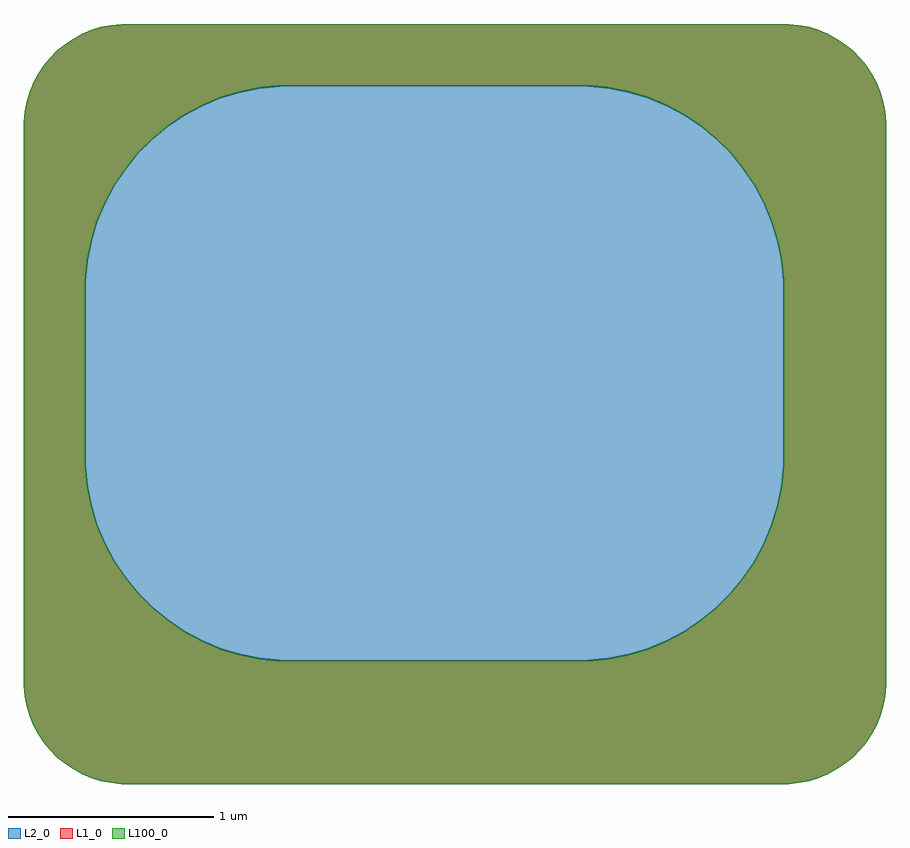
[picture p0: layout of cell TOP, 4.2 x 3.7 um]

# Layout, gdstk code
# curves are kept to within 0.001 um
import gdstk
lib = gdstk.Library(unit=1e-6, precision=1e-09)
def P(c, l, *ps):  # polygons
    for p in ps: c.add(gdstk.Polygon(p, *l))
L1_0 = (1, 0)
L2_0 = (2, 0)
L100_0 = (100, 0)

top = lib.new_cell('TOP')
P(top, L1_0, [(-1.625,-1.7),(-1.673,-1.695),(-1.722,-1.686),(-1.769,-1.671),(-1.814,-1.653),(-1.857,-1.629),(-1.898,-1.602),(-1.936,-1.571),(-1.971,-1.536),(-2.002,-1.498),(-2.029,-1.457),(-2.053,-1.414),(-2.071,-1.369),(-2.086,-1.322),(-2.095,-1.273),(-2.1,-1.225),(-2.1,1.525),(-2.095,1.573),(-2.086,1.622),(-2.071,1.669),(-2.059,1.7),(-0.849,1.7),(-0.947,1.69),(-1.043,1.671),(-1.137,1.643),(-1.228,1.605),(-1.315,1.559),(-1.396,1.504),(-1.472,1.442),(-1.542,1.372),(-1.604,1.296),(-1.659,1.215),(-1.705,1.128),(-1.743,1.037),(-1.771,0.943),(-1.79,0.847),(-1.8,0.749),(-1.8,-0.149),(-1.79,-0.247),(-1.771,-0.343),(-1.743,-0.437),(-1.705,-0.528),(-1.659,-0.615),(-1.604,-0.696),(-1.542,-0.772),(-1.472,-0.842),(-1.396,-0.904),(-1.315,-0.959),(-1.228,-1.005),(-1.137,-1.043),(-1.043,-1.071),(-0.947,-1.09),(-0.849,-1.1),(0.649,-1.1),(0.747,-1.09),(0.843,-1.071),(0.937,-1.043),(1.028,-1.005),(1.115,-0.959),(1.196,-0.904),(1.272,-0.842),(1.342,-0.772),(1.404,-0.696),(1.459,-0.615),(1.505,-0.528),(1.543,-0.437),(1.571,-0.343),(1.59,-0.247),(1.6,-0.149),(1.6,0.749),(1.59,0.847),(1.571,0.943),(1.543,1.037),(1.505,1.128),(1.459,1.215),(1.404,1.296),(1.342,1.372),(1.272,1.442),(1.196,1.504),(1.115,1.559),(1.028,1.605),(0.937,1.643),(0.843,1.671),(0.747,1.69),(0.649,1.7),(-2.059,1.7),(-2.053,1.714),(-2.029,1.757),(-2.002,1.798),(-1.971,1.836),(-1.936,1.871),(-1.898,1.902),(-1.857,1.929),(-1.814,1.953),(-1.769,1.971),(-1.722,1.986),(-1.673,1.995),(-1.625,2),(1.625,2),(1.673,1.995),(1.722,1.986),(1.769,1.971),(1.814,1.953),(1.857,1.929),(1.898,1.902),(1.936,1.871),(1.971,1.836),(2.002,1.798),(2.029,1.757),(2.053,1.714),(2.071,1.669),(2.086,1.622),(2.095,1.573),(2.1,1.525),(2.1,-1.225),(2.095,-1.273),(2.086,-1.322),(2.071,-1.369),(2.053,-1.414),(2.029,-1.457),(2.002,-1.498),(1.971,-1.536),(1.936,-1.571),(1.898,-1.602),(1.857,-1.629),(1.814,-1.653),(1.769,-1.671),(1.722,-1.686),(1.673,-1.695),(1.625,-1.7)])
P(top, L2_0, [(-0.849,-1.1),(-0.947,-1.09),(-1.043,-1.071),(-1.137,-1.043),(-1.228,-1.005),(-1.315,-0.959),(-1.396,-0.904),(-1.472,-0.842),(-1.542,-0.772),(-1.604,-0.696),(-1.659,-0.615),(-1.705,-0.528),(-1.743,-0.437),(-1.771,-0.343),(-1.79,-0.247),(-1.8,-0.149),(-1.8,0.749),(-1.79,0.847),(-1.771,0.943),(-1.743,1.037),(-1.705,1.128),(-1.659,1.215),(-1.604,1.296),(-1.542,1.372),(-1.472,1.442),(-1.396,1.504),(-1.315,1.559),(-1.228,1.605),(-1.137,1.643),(-1.043,1.671),(-0.947,1.69),(-0.849,1.7),(0.649,1.7),(0.747,1.69),(0.843,1.671),(0.937,1.643),(1.028,1.605),(1.115,1.559),(1.196,1.504),(1.272,1.442),(1.342,1.372),(1.404,1.296),(1.459,1.215),(1.505,1.128),(1.543,1.037),(1.571,0.943),(1.59,0.847),(1.6,0.749),(1.6,-0.149),(1.59,-0.247),(1.571,-0.343),(1.543,-0.437),(1.505,-0.528),(1.459,-0.615),(1.404,-0.696),(1.342,-0.772),(1.272,-0.842),(1.196,-0.904),(1.115,-0.959),(1.028,-1.005),(0.937,-1.043),(0.843,-1.071),(0.747,-1.09),(0.649,-1.1)])
P(top, L100_0, [(-1.944,-0.213),(-2.1,-0.194),(-2.1,0.15),(-2.1,0.494),(-2.1,0.666),(-2.1,0.838),(-1.944,0.813),(-1.8,0.749),(-1.8,0.525),(-1.8,0.3),(-1.8,0.076),(-1.8,-0.149)],
  [(1.6,-0.149),(1.6,0.075),(1.6,0.3),(1.799,0.188),(1.737,-0.037)],
  [(1.681,-0.315),(1.69,-0.208),(1.737,-0.037),(1.799,0.188),(2.1,0.15),(2.1,-0.194),(1.877,-0.277)],
  [(-0.849,1.7),(-0.908,1.792),(-0.963,1.895),(-1.016,2),(0.609,2),(0.715,1.859),(0.649,1.7)],
  [(-0.406,-1.7),(-0.379,-1.393),(-0.1,-1.1),(0.275,-1.1),(0.462,-1.272),(0.629,-1.515),(0.406,-1.7),(0,-1.7)],
  [(1.807,1.435),(1.669,1.464),(1.779,1.562),(1.915,1.565),(2.006,1.539),(1.981,1.491),(1.935,1.461)],
  [(1.675,0.914),(1.659,1.02),(1.655,1.137),(1.692,1.282),(1.814,1.296),(1.934,1.267),(1.885,1.086),(1.791,0.986)],
  [(1.934,1.267),(1.814,1.296),(1.916,1.364)],
  [(1.938,0.944),(1.791,0.986),(1.885,1.086),(1.993,1.179),(2.1,1.181),(2.1,1.009)],
  [(1.208,1.61),(1.175,1.778),(1.219,2),(1.378,1.885),(1.463,1.797),(1.333,1.692)],
  [(1.463,1.797),(1.378,1.885),(1.496,1.92),(1.557,1.861)],
  [(1.378,1.885),(1.219,2),(1.422,2),(1.523,2),(1.574,1.952),(1.496,1.92)],
  [(1.993,1.179),(1.934,1.267),(1.916,1.364),(1.984,1.436),(2.041,1.466),(2.1,1.439),(2.1,1.353),(2.1,1.267),(2.1,1.181)],
  [(2.1,0.15),(1.799,0.188),(1.6,0.3),(1.6,0.525),(1.794,0.678),(1.98,0.695),(2.1,0.494)],
  [(1.885,1.086),(1.934,1.267),(1.993,1.179)],
  [(1.916,1.364),(1.807,1.435),(1.935,1.461),(1.984,1.436)],
  [(1.984,1.436),(1.981,1.491),(2.006,1.539),(2.055,1.545),(2.041,1.466)],
  [(1.629,1.804),(1.557,1.861),(1.496,1.92),(1.574,1.952),(1.639,1.902),(1.686,1.844)],
  [(1.794,0.678),(1.845,0.823),(1.938,0.944),(2.1,1.009),(2.1,0.838),(1.98,0.695)],
  [(2.1,0.494),(1.98,0.695),(2.1,0.838)],
  [(1.523,1.456),(1.375,1.475),(1.47,1.63),(1.619,1.705),(1.651,1.61),(1.669,1.464)],
  [(1.655,1.137),(1.568,1.217),(1.509,1.308),(1.523,1.456),(1.669,1.464),(1.692,1.282)],
  [(1.692,1.282),(1.669,1.464),(1.807,1.435),(1.916,1.364),(1.814,1.296)],
  [(1.47,1.63),(1.333,1.692),(1.463,1.797),(1.557,1.861),(1.629,1.804),(1.619,1.705)],
  [(1.6,0.525),(1.6,0.749),(1.715,0.81),(1.845,0.823),(1.794,0.678)],
  [(1.779,1.562),(1.651,1.61),(1.73,1.69),(1.816,1.716),(1.929,1.66),(1.915,1.565)],
  [(0.747,1.69),(0.649,1.7),(0.715,1.859),(0.813,1.774)],
  [(1.115,1.559),(1.028,1.605),(1.019,1.713),(1.121,1.675),(1.208,1.61)],
  [(2.1,1.439),(2.041,1.466),(2.055,1.545),(2.1,1.525)],
  [(0.937,1.643),(0.843,1.671),(0.916,1.746)],
  [(1.659,1.02),(1.543,1.037),(1.505,1.128),(1.568,1.217),(1.655,1.137)],
  [(1.6,0.749),(1.59,0.847),(1.675,0.914),(1.715,0.81)],
  [(0.916,1.746),(0.813,1.774),(0.715,1.859),(0.609,2),(0.813,2),(0.892,1.861)],
  [(1.639,1.902),(1.644,1.953),(1.673,1.995),(1.722,1.986),(1.769,1.971),(1.722,1.904)],
  [(2.004,1.622),(1.929,1.66),(1.91,1.755),(1.915,1.815),(1.971,1.836),(2.002,1.798),(2.029,1.757),(2.017,1.674)],
  [(0.843,1.671),(0.747,1.69),(0.813,1.774),(0.916,1.746)],
  [(2.006,1.539),(1.915,1.565),(1.929,1.66),(2.004,1.622)],
  [(2.006,1.539),(2.004,1.622),(2.017,1.674),(2.071,1.669),(2.086,1.622),(2.095,1.573),(2.055,1.545)],
  [(1.619,1.705),(1.629,1.804),(1.686,1.844),(1.693,1.772)],
  [(1.929,1.66),(1.816,1.716),(1.91,1.755)],
  [(2.1,1.525),(2.055,1.545),(2.095,1.573)],
  [(1.818,1.826),(1.756,1.847),(1.807,1.889)],
  [(1.675,0.914),(1.571,0.943),(1.543,1.037),(1.659,1.02)],
  [(1.342,1.372),(1.272,1.442),(1.375,1.475),(1.523,1.456),(1.443,1.391)],
  [(1.375,1.475),(1.295,1.548),(1.333,1.692),(1.47,1.63)],
  [(1.505,1.128),(1.459,1.215),(1.509,1.308),(1.568,1.217)],
  [(1.686,1.844),(1.722,1.904),(1.769,1.971),(1.814,1.953),(1.807,1.889),(1.756,1.847)],
  [(1.651,1.61),(1.619,1.705),(1.693,1.772),(1.766,1.772),(1.73,1.69)],
  [(1.915,1.815),(1.818,1.826),(1.807,1.889),(1.814,1.953),(1.857,1.929),(1.898,1.902)],
  [(1.574,1.952),(1.523,2),(1.625,2),(1.673,1.995),(1.644,1.953)],
  [(1.715,0.81),(1.675,0.914),(1.791,0.986),(1.938,0.944),(1.845,0.823)],
  [(1.816,1.716),(1.766,1.772),(1.818,1.826),(1.915,1.815),(1.91,1.755)],
  [(1.295,1.548),(1.208,1.61),(1.333,1.692)],
  [(1.272,1.442),(1.196,1.504),(1.208,1.61),(1.295,1.548),(1.375,1.475)],
  [(1.404,1.296),(1.342,1.372),(1.443,1.391)],
  [(1.459,1.215),(1.404,1.296),(1.443,1.391),(1.523,1.456),(1.509,1.308)],
  [(1.121,1.675),(1.019,1.713),(1.009,1.856),(1.016,2),(1.219,2),(1.175,1.778)],
  [(1.915,1.815),(1.898,1.902),(1.936,1.871),(1.971,1.836)],
  [(1.019,1.713),(0.916,1.746),(0.892,1.861),(1.009,1.856)],
  [(0.937,1.643),(0.916,1.746),(1.019,1.713)],
  [(1.693,1.772),(1.686,1.844),(1.756,1.847),(1.818,1.826),(1.766,1.772)],
  [(1.196,1.504),(1.115,1.559),(1.208,1.61)],
  [(1.208,1.61),(1.121,1.675),(1.175,1.778)],
  [(1.59,0.847),(1.571,0.943),(1.675,0.914)],
  [(2.071,1.669),(2.017,1.674),(2.029,1.757),(2.053,1.714)],
  [(1.686,1.844),(1.639,1.902),(1.722,1.904)],
  [(1.669,1.464),(1.651,1.61),(1.779,1.562)],
  [(1.028,1.605),(0.937,1.643),(1.019,1.713)],
  [(1.73,1.69),(1.766,1.772),(1.816,1.716)],
  [(1.639,1.902),(1.574,1.952),(1.644,1.953)],
  [(1.009,1.856),(0.892,1.861),(0.813,2),(1.016,2)],
  [(1.984,1.436),(1.935,1.461),(1.981,1.491)],
  [(-1.472,1.442),(-1.504,1.559),(-1.41,1.611),(-1.396,1.504)],
  [(-1.933,1.569),(-1.962,1.642),(-1.917,1.662),(-1.877,1.633)],
  [(-1.994,1.676),(-2.028,1.695),(-2.002,1.714),(-1.961,1.738),(-1.958,1.689)],
  [(-2.028,1.695),(-2.043,1.701),(-2.053,1.714),(-2.029,1.757),(-2.009,1.74),(-2.002,1.714)],
  [(-1.043,1.671),(-1.017,1.791),(-0.908,1.792),(-0.947,1.69)],
  [(-1.228,1.605),(-1.317,1.668),(-1.229,1.734),(-1.137,1.643)],
  [(-1.933,1.103),(-1.91,1.222),(-1.768,1.217),(-1.812,1.119)],
  [(-1.771,0.943),(-1.846,1.017),(-1.743,1.037)],
  [(-1.619,1.519),(-1.771,1.585),(-1.877,1.633),(-1.863,1.717),(-1.793,1.791),(-1.694,1.818),(-1.625,1.767),(-1.598,1.643)],
  [(-1.542,1.372),(-1.659,1.404),(-1.619,1.519),(-1.504,1.559),(-1.472,1.442)],
  [(-2.059,1.7),(-2.053,1.714),(-2.043,1.701)],
  [(-1.694,1.818),(-1.764,1.851),(-1.721,1.901),(-1.637,1.883)],
  [(-1.909,1.365),(-1.943,1.464),(-1.845,1.508),(-1.789,1.414)],
  [(-2.015,1.54),(-2.045,1.589),(-2.004,1.622),(-1.962,1.642),(-1.933,1.569)],
  [(-1.933,1.103),(-2.1,1.181),(-2.1,1.353),(-2.041,1.443),(-1.943,1.464),(-1.909,1.365),(-1.91,1.222)],
  [(-1.604,1.296),(-1.711,1.31),(-1.659,1.404),(-1.542,1.372)],
  [(-1.396,1.504),(-1.41,1.611),(-1.315,1.559)],
  [(-1.625,1.767),(-1.694,1.818),(-1.637,1.883)],
  [(-1.017,1.791),(-1.141,1.83),(-1.219,2),(-1.016,2),(-0.963,1.895)],
  [(-1.137,1.643),(-1.229,1.734),(-1.141,1.83),(-1.017,1.791),(-1.043,1.671)],
  [(-2.004,1.622),(-2.044,1.636),(-2.022,1.665),(-1.994,1.676),(-1.958,1.689),(-1.962,1.642)],
  [(-1.764,1.851),(-1.773,1.916),(-1.721,1.901)],
  [(-2.002,1.714),(-2.009,1.74),(-1.961,1.738)],
  [(-1.846,1.017),(-1.933,1.103),(-1.812,1.119)],
  [(-1.659,1.215),(-1.711,1.31),(-1.604,1.296)],
  [(-1.812,1.119),(-1.768,1.217),(-1.711,1.31),(-1.659,1.215),(-1.705,1.128)],
  [(-2.041,1.443),(-2.015,1.54),(-1.933,1.569),(-1.943,1.464)],
  [(-1.619,1.519),(-1.598,1.643),(-1.504,1.559)],
  [(-0.947,1.69),(-0.908,1.792),(-0.849,1.7)],
  [(-2.045,1.589),(-2.044,1.636),(-2.004,1.622)],
  [(-1.711,1.31),(-1.789,1.414),(-1.845,1.508),(-1.771,1.585),(-1.619,1.519),(-1.659,1.404)],
  [(-1.317,1.668),(-1.383,1.793),(-1.27,1.859),(-1.229,1.734)],
  [(-1.8,0.749),(-1.944,0.813),(-1.886,0.916),(-1.79,0.847)],
  [(-1.846,1.017),(-1.812,1.119),(-1.705,1.128),(-1.743,1.037)],
  [(-2.095,1.573),(-2.086,1.622),(-2.071,1.669),(-2.044,1.636),(-2.045,1.589)],
  [(-1.229,1.734),(-1.27,1.859),(-1.219,2),(-1.141,1.83)],
  [(-1.944,0.813),(-2.1,0.838),(-2.1,1.009),(-2.1,1.181),(-1.933,1.103),(-1.846,1.017),(-1.886,0.916)],
  [(-2.1,1.353),(-2.1,1.525),(-2.095,1.573),(-2.045,1.589),(-2.015,1.54),(-2.041,1.443)],
  [(-1.962,1.642),(-1.958,1.689),(-1.917,1.662)],
  [(-1.917,1.662),(-1.958,1.689),(-1.961,1.738),(-1.914,1.742),(-1.863,1.717)],
  [(-1.877,1.633),(-1.917,1.662),(-1.863,1.717)],
  [(-1.637,1.883),(-1.721,1.901),(-1.773,1.916),(-1.814,1.953),(-1.769,1.971),(-1.722,1.986),(-1.673,1.995),(-1.625,2),(-1.422,2),(-1.551,1.922)],
  [(-1.383,1.793),(-1.51,1.838),(-1.551,1.922),(-1.422,2),(-1.219,2),(-1.27,1.859)],
  [(-1.017,1.791),(-0.963,1.895),(-0.908,1.792)],
  [(-1.768,1.217),(-1.91,1.222),(-1.909,1.365),(-1.789,1.414),(-1.711,1.31)],
  [(-2.071,1.669),(-2.059,1.7),(-2.043,1.701),(-2.028,1.695),(-2.049,1.678)],
  [(-1.79,0.847),(-1.886,0.916),(-1.846,1.017),(-1.771,0.943)],
  [(-2.022,1.665),(-2.049,1.678),(-2.028,1.695),(-1.994,1.676)],
  [(-1.793,1.791),(-1.764,1.851),(-1.694,1.818)],
  [(-1.625,1.767),(-1.637,1.883),(-1.551,1.922),(-1.51,1.838)],
  [(-1.943,1.464),(-1.933,1.569),(-1.877,1.633),(-1.771,1.585),(-1.845,1.508)],
  [(-2.044,1.636),(-2.071,1.669),(-2.049,1.678),(-2.022,1.665)],
  [(-1.504,1.559),(-1.598,1.643),(-1.625,1.767),(-1.51,1.838),(-1.383,1.793),(-1.317,1.668),(-1.41,1.611)],
  [(-1.315,1.559),(-1.41,1.611),(-1.317,1.668),(-1.228,1.605)],
  [(-1.961,1.738),(-2.009,1.74),(-2.029,1.757),(-2.002,1.798),(-1.971,1.836),(-1.949,1.786)],
  [(-1.863,1.717),(-1.914,1.742),(-1.949,1.786),(-1.971,1.836),(-1.936,1.871),(-1.898,1.902),(-1.857,1.929),(-1.814,1.953),(-1.773,1.916),(-1.764,1.851),(-1.793,1.791)],
  [(-1.961,1.738),(-1.949,1.786),(-1.914,1.742)],
  [(-1.59,-0.89),(-1.71,-0.845),(-1.728,-0.721),(-1.604,-0.696),(-1.542,-0.772)],
  [(-1.766,-0.616),(-1.813,-0.52),(-1.743,-0.437),(-1.705,-0.528)],
  [(-1.813,-0.52),(-1.85,-0.418),(-1.874,-0.313),(-1.771,-0.343),(-1.743,-0.437)],
  [(-1.625,-1.7),(-1.523,-1.638),(-1.422,-1.7)],
  [(-1.728,-0.721),(-1.766,-0.616),(-1.659,-0.615),(-1.604,-0.696)],
  [(-1.523,-1.638),(-1.641,-1.619),(-1.666,-1.528),(-1.64,-1.419),(-1.521,-1.377),(-1.519,-1.503)],
  [(-1.079,-1.531),(-1.297,-1.492),(-1.392,-1.32),(-1.274,-1.244),(-1.131,-1.193),(-1.041,-1.314)],
  [(-1.7,-1.002),(-1.848,-0.976),(-1.91,-0.811),(-1.848,-0.706),(-1.766,-0.616),(-1.728,-0.721),(-1.71,-0.845)],
  [(-2.1,-1.053),(-2.1,-0.881),(-2.1,-0.709),(-1.974,-0.702),(-1.91,-0.811),(-1.848,-0.976),(-1.985,-1.037)],
  [(-2.1,-0.709),(-2.1,-0.537),(-1.957,-0.514),(-1.974,-0.702)],
  [(-0.912,-1.236),(-1.015,-1.183),(-0.947,-1.09),(-0.849,-1.1)],
  [(-1.689,-1.645),(-1.722,-1.604),(-1.666,-1.528),(-1.641,-1.619)],
  [(-1.131,-1.193),(-1.219,-1.112),(-1.137,-1.043),(-1.043,-1.071),(-1.015,-1.183)],
  [(-1.874,-0.313),(-1.944,-0.213),(-1.8,-0.149),(-1.79,-0.247)],
  [(-1.813,-0.52),(-1.957,-0.514),(-1.971,-0.391),(-1.85,-0.418)],
  [(-1.866,-1.524),(-1.923,-1.523),(-1.933,-1.474)],
  [(-1.85,-0.418),(-1.971,-0.391),(-1.874,-0.313)],
  [(-1.813,-1.378),(-1.892,-1.361),(-1.916,-1.295),(-1.858,-1.255),(-1.728,-1.215),(-1.737,-1.351)],
  [(-1.91,-0.811),(-1.974,-0.702),(-1.848,-0.706)],
  [(-1.936,-1.571),(-1.971,-1.536),(-2.002,-1.498),(-2.029,-1.457),(-1.979,-1.454),(-1.933,-1.474),(-1.923,-1.523)],
  [(-1.079,-1.531),(-1.041,-1.314),(-1.015,-1.183),(-0.912,-1.236),(-0.901,-1.401)],
  [(-2.1,-0.537),(-2.1,-0.366),(-1.971,-0.391),(-1.957,-0.514)],
  [(-1.422,-1.7),(-1.415,-1.574),(-1.297,-1.492),(-1.079,-1.531),(-1.219,-1.7)],
  [(-2.1,-1.225),(-2.1,-1.053),(-1.985,-1.037),(-2.041,-1.139)],
  [(-1.041,-1.314),(-1.131,-1.193),(-1.015,-1.183)],
  [(-1.609,-1.16),(-1.7,-1.002),(-1.71,-0.845),(-1.59,-0.89),(-1.495,-0.947),(-1.417,-1.022),(-1.485,-1.121)],
  [(-1.789,-1.557),(-1.866,-1.524),(-1.933,-1.474),(-1.877,-1.428),(-1.813,-1.378),(-1.737,-1.351),(-1.74,-1.47)],
  [(-1.495,-0.947),(-1.59,-0.89),(-1.542,-0.772),(-1.472,-0.842)],
  [(-1.219,-1.112),(-1.318,-1.069),(-1.315,-0.959),(-1.228,-1.005)],
  [(-1.219,-1.112),(-1.228,-1.005),(-1.137,-1.043)],
  [(-1.318,-1.069),(-1.417,-1.022),(-1.495,-0.947),(-1.396,-0.904),(-1.315,-0.959)],
  [(-1.877,-1.428),(-1.892,-1.361),(-1.813,-1.378)],
  [(-1.971,-0.391),(-2.1,-0.366),(-2.1,-0.194),(-1.944,-0.213),(-1.874,-0.313)],
  [(-1.625,-1.7),(-1.673,-1.695),(-1.689,-1.645),(-1.641,-1.619),(-1.523,-1.638)],
  [(-1.666,-1.528),(-1.74,-1.47),(-1.737,-1.351),(-1.627,-1.308),(-1.64,-1.419)],
  [(-1.848,-0.706),(-1.974,-0.702),(-1.957,-0.514),(-1.813,-0.52),(-1.766,-0.616)],
  [(-1.858,-1.255),(-1.979,-1.237),(-2.041,-1.139),(-1.985,-1.037),(-1.848,-0.976),(-1.7,-1.002),(-1.609,-1.16),(-1.728,-1.215)],
  [(-1.771,-0.343),(-1.874,-0.313),(-1.79,-0.247)],
  [(-1.877,-1.428),(-1.935,-1.415),(-1.892,-1.361)],
  [(-1.015,-1.183),(-1.043,-1.071),(-0.947,-1.09)],
  [(-1.219,-1.7),(-1.079,-1.531),(-0.901,-1.401),(-0.662,-1.27),(-0.379,-1.393),(-0.406,-1.7),(-0.813,-1.7),(-1.009,-1.7)],
  [(-0.379,-1.393),(-0.662,-1.27),(-0.849,-1.1),(-0.475,-1.1),(-0.1,-1.1)],
  [(-1.422,-1.7),(-1.523,-1.638),(-1.519,-1.503),(-1.415,-1.574)],
  [(-2.095,-1.273),(-2.1,-1.225),(-2.041,-1.139),(-2.041,-1.243)],
  [(-1.722,-1.604),(-1.789,-1.557),(-1.74,-1.47),(-1.666,-1.528)],
  [(-1.737,-1.351),(-1.728,-1.215),(-1.609,-1.16),(-1.485,-1.121),(-1.513,-1.248),(-1.627,-1.308)],
  [(-1.274,-1.244),(-1.219,-1.112),(-1.131,-1.193)],
  [(-1.64,-1.419),(-1.627,-1.308),(-1.513,-1.248),(-1.521,-1.377)],
  [(-1.916,-1.295),(-1.979,-1.237),(-1.858,-1.255)],
  [(-2.041,-1.243),(-2.041,-1.139),(-1.979,-1.237)],
  [(-1.521,-1.377),(-1.513,-1.248),(-1.485,-1.121),(-1.318,-1.069),(-1.219,-1.112),(-1.274,-1.244),(-1.392,-1.32)],
  [(-1.933,-1.474),(-1.979,-1.454),(-1.935,-1.415),(-1.877,-1.428)],
  [(-1.485,-1.121),(-1.417,-1.022),(-1.318,-1.069)],
  [(-1.766,-0.616),(-1.705,-0.528),(-1.659,-0.615)],
  [(-1.673,-1.695),(-1.722,-1.686),(-1.769,-1.671),(-1.814,-1.653),(-1.857,-1.629),(-1.898,-1.602),(-1.936,-1.571),(-1.923,-1.523),(-1.866,-1.524),(-1.789,-1.557),(-1.722,-1.604),(-1.689,-1.645)],
  [(-2.029,-1.457),(-2.053,-1.414),(-2.071,-1.369),(-2.086,-1.322),(-2.095,-1.273),(-2.041,-1.243),(-1.979,-1.237),(-1.916,-1.295),(-1.892,-1.361),(-1.935,-1.415),(-1.979,-1.454)],
  [(-1.495,-0.947),(-1.472,-0.842),(-1.396,-0.904)],
  [(-0.901,-1.401),(-0.912,-1.236),(-0.849,-1.1),(-0.662,-1.27)],
  [(-1.415,-1.574),(-1.519,-1.503),(-1.521,-1.377),(-1.392,-1.32),(-1.297,-1.492)],
  [(2.004,-1.322),(1.945,-1.285),(1.904,-1.229),(1.833,-1.104),(1.766,-0.976),(1.812,-0.806),(1.915,-0.695),(2.1,-0.538),(2.1,-1.225),(2.095,-1.273),(2.086,-1.322)],
  [(1.511,-1.011),(1.522,-0.895),(1.635,-0.964)],
  [(1.59,-0.247),(1.6,-0.149),(1.69,-0.208)],
  [(1.395,-1.022),(1.406,-0.906),(1.522,-0.895),(1.511,-1.011)],
  [(1.571,-0.343),(1.59,-0.247),(1.69,-0.208),(1.681,-0.315)],
  [(1.023,-1.122),(1.028,-1.005),(1.115,-0.959),(1.209,-1.01),(1.14,-1.112)],
  [(1.469,-1.191),(1.293,-1.135),(1.395,-1.022)],
  [(1.632,-1.364),(1.469,-1.191),(1.511,-1.011),(1.635,-0.964),(1.689,-1.091),(1.708,-1.227)],
  [(1.857,-1.629),(1.774,-1.617),(1.722,-1.604),(1.759,-1.529),(1.851,-1.506),(1.913,-1.513),(1.971,-1.536),(1.936,-1.571),(1.898,-1.602)],
  [(1.209,-1.01),(1.196,-0.904),(1.272,-0.842),(1.301,-0.955)],
  [(1.814,-1.653),(1.774,-1.617),(1.857,-1.629)],
  [(1.812,-0.806),(1.661,-0.793),(1.733,-0.677),(1.842,-0.594),(1.915,-0.695)],
  [(0.856,-1.387),(0.716,-1.27),(0.818,-1.195),(0.94,-1.225),(1.095,-1.265)],
  [(1.946,-1.354),(1.945,-1.285),(2.004,-1.322)],
  [(1.505,-0.528),(1.543,-0.437),(1.612,-0.519)],
  [(1.729,-0.54),(1.687,-0.429),(1.681,-0.315),(1.877,-0.277),(1.825,-0.47)],
  [(1.64,-1.607),(1.665,-1.516),(1.759,-1.529),(1.722,-1.604)],
  [(1.971,-1.536),(1.913,-1.513),(1.922,-1.416),(1.987,-1.406),(2.053,-1.414),(2.029,-1.457),(2.002,-1.498)],
  [(1.422,-1.7),(1.473,-1.602),(1.559,-1.535),(1.64,-1.607),(1.645,-1.655),(1.625,-1.7),(1.523,-1.7)],
  [(1.135,-1.43),(0.856,-1.387),(1.095,-1.265)],
  [(1.913,-1.513),(1.851,-1.506),(1.808,-1.408),(1.777,-1.307),(1.869,-1.36),(1.922,-1.416)],
  [(1.69,-0.208),(1.6,-0.149),(1.737,-0.037)],
  [(1.869,-1.36),(1.904,-1.229),(1.945,-1.285),(1.946,-1.354)],
  [(1.51,-0.709),(1.459,-0.615),(1.505,-0.528),(1.612,-0.519),(1.568,-0.617)],
  [(1.673,-1.695),(1.645,-1.655),(1.64,-1.607),(1.722,-1.604),(1.774,-1.617),(1.814,-1.653),(1.769,-1.671),(1.722,-1.686)],
  [(0.629,-1.515),(0.462,-1.272),(0.716,-1.27),(0.856,-1.387)],
  [(1.473,-1.602),(1.387,-1.531),(1.559,-1.535)],
  [(2.053,-1.414),(1.987,-1.406),(1.946,-1.354),(2.004,-1.322),(2.086,-1.322),(2.071,-1.369)],
  [(1.922,-1.416),(1.946,-1.354),(1.987,-1.406)],
  [(1.301,-0.955),(1.272,-0.842),(1.342,-0.772),(1.455,-0.801),(1.406,-0.906)],
  [(0.406,-1.7),(0.629,-1.515),(0.856,-1.387),(1.135,-1.43),(1.387,-1.531),(1.473,-1.602),(1.422,-1.7),(1.219,-1.7),(0.813,-1.7)],
  [(1.209,-1.01),(1.115,-0.959),(1.196,-0.904)],
  [(1.469,-1.191),(1.395,-1.022),(1.511,-1.011)],
  [(1.733,-0.677),(1.568,-0.617),(1.612,-0.519),(1.729,-0.54),(1.842,-0.594)],
  [(1.095,-1.265),(0.94,-1.225),(1.023,-1.122),(1.14,-1.112)],
  [(1.625,-1.7),(1.645,-1.655),(1.673,-1.695)],
  [(1.759,-1.529),(1.665,-1.516),(1.632,-1.364),(1.777,-1.307),(1.808,-1.408)],
  [(1.766,-0.976),(1.635,-0.964),(1.522,-0.895),(1.661,-0.793),(1.812,-0.806)],
  [(0.94,-1.225),(0.818,-1.195),(0.843,-1.071),(0.937,-1.043),(1.023,-1.122)],
  [(1.842,-0.594),(1.729,-0.54),(1.825,-0.47)],
  [(1.023,-1.122),(0.937,-1.043),(1.028,-1.005)],
  [(1.869,-1.36),(1.777,-1.307),(1.708,-1.227),(1.689,-1.091),(1.833,-1.104),(1.904,-1.229)],
  [(0.716,-1.27),(0.649,-1.1),(0.747,-1.09),(0.818,-1.195)],
  [(1.406,-0.906),(1.455,-0.801),(1.51,-0.709),(1.568,-0.617),(1.733,-0.677),(1.661,-0.793),(1.522,-0.895)],
  [(1.833,-1.104),(1.689,-1.091),(1.635,-0.964),(1.766,-0.976)],
  [(1.922,-1.416),(1.869,-1.36),(1.946,-1.354)],
  [(1.559,-1.535),(1.387,-1.531),(1.135,-1.43),(1.095,-1.265),(1.14,-1.112),(1.293,-1.135),(1.469,-1.191),(1.632,-1.364),(1.665,-1.516)],
  [(1.455,-0.801),(1.342,-0.772),(1.404,-0.696),(1.51,-0.709)],
  [(1.632,-1.364),(1.708,-1.227),(1.777,-1.307)],
  [(1.729,-0.54),(1.612,-0.519),(1.687,-0.429)],
  [(0.462,-1.272),(0.275,-1.1),(0.649,-1.1),(0.716,-1.27)],
  [(0.818,-1.195),(0.747,-1.09),(0.843,-1.071)],
  [(1.612,-0.519),(1.543,-0.437),(1.571,-0.343),(1.681,-0.315),(1.687,-0.429)],
  [(1.64,-1.607),(1.559,-1.535),(1.665,-1.516)],
  [(1.51,-0.709),(1.404,-0.696),(1.459,-0.615)],
  [(1.293,-1.135),(1.209,-1.01),(1.301,-0.955),(1.406,-0.906),(1.395,-1.022)],
  [(1.759,-1.529),(1.808,-1.408),(1.851,-1.506)],
  [(1.293,-1.135),(1.14,-1.112),(1.209,-1.01)],
  [(1.915,-0.695),(1.842,-0.594),(1.825,-0.47),(1.877,-0.277),(2.1,-0.194),(2.1,-0.366),(2.1,-0.538)])

lib.write_gds('TOP.gds')
